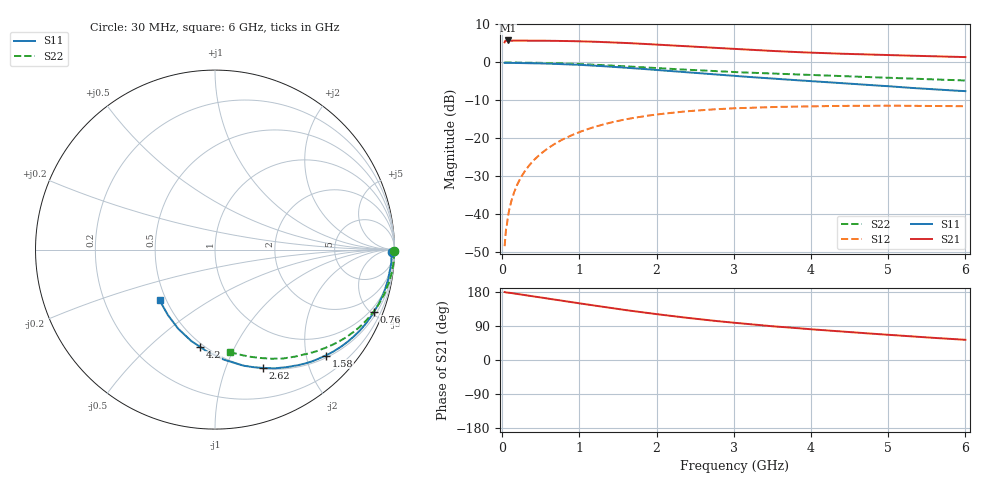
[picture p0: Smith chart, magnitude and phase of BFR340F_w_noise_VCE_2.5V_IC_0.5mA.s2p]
! Infineon Technologies  Discrete & RF Semiconductors
! BFR340F
! VCE =  2.5 V,  IC =  0.5 mA
! Common Emitter S-Parameters:  Nov 2015
# GHz  S  MA  R  50
!  f  S11  S21  S12  S22
! GHz  MAG  ANG  MAG  ANG  MAG  ANG  MAG  ANG
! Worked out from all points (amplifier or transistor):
!   206 points, 30 MHz to 6 GHz, reference 50 ohm
!   highest |S21| = 5.8 dB at 70 MHz (marker M1)
!   |S21| within 3 dB of that: start of sweep to 3.745 GHz
!   unconditionally stable (mu >= 1): nowhere
!   at 200 MHz: K = 0.03, MSG = 18.8 dB, |S12| = -31.9 dB
!   at 1.56 GHz: K = 0.29, MSG = 10.2 dB, |S12| = -15.2 dB
!   at 6 GHz: K = 0.92, MSG = 6.5 dB, |S12| = -11.5 dB
!   lowest NFmin = 0.60 dB at 450 MHz
!   S11 on the Smith chart (normalised r, x): 30 MHz: 63, -69; 760 MHz: 0.71, -5.20; 1.58 GHz: 0.55, -2.39; 2.62 GHz: 0.51, -1.35; 4.2 GHz: 0.48, -0.74; 6 GHz: 0.46, -0.32
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0.03  0.9857 -0.9  1.839 179.3  0.0038 88.8  0.9987 -0.6
0.04  0.983 -1.1  1.933 178.7  0.0051 88.9  0.9985 -0.8
0.05  0.9899 -1.1  1.928 178.1  0.0065 88.1  0.9988 -1.0
0.07  0.9837 -2.1  1.946 177.7  0.0089 88.9  0.999 -1.5
0.11  0.9847 -3.2  1.931 176.9  0.014 87.6  0.9986 -2.4
0.15  0.9847 -4.3  1.936 175.5  0.0191 86.8  0.9978 -3.2
0.2  0.983 -5.7  1.941 174.1  0.0253 85.8  0.997 -4.3
0.28  0.9796 -8.0  1.94 171.7  0.0354 84.2  0.9949 -6.0
0.48  0.9719 -13.5  1.934 165.6  0.0603 80.1  0.9876 -10.2
0.76  0.9512 -21.4  1.919 156.8  0.0939 74.4  0.9708 -16.0
1.04  0.9245 -29.2  1.894 148.3  0.1253 68.7  0.9474 -21.7
1.24  0.9007 -34.6  1.865 142.2  0.1458 64.8  0.9274 -25.7
1.58  0.8542 -43.7  1.807 132.3  0.1763 58.4  0.89 -31.9
2.02  0.7925 -54.4  1.713 120.5  0.2072 51.1  0.8404 -39.3
2.4  0.7405 -63.3  1.634 111.2  0.2275 45.8  0.8006 -45.0
2.62  0.7108 -68.1  1.585 106.3  0.2365 43.1  0.7783 -48.1
3.1  0.6543 -78.0  1.487 96.5  0.2506 37.9  0.7395 -53.9
3.5  0.614 -85.6  1.416 89.0  0.2587 34.5  0.7139 -58.3
4.1  0.5581 -96.6  1.333 79.6  0.2652 30.9  0.6784 -63.5
4.2  0.5491 -98.5  1.321 78.2  0.266 30.4  0.6723 -64.4
5.1  0.4773 -117.0  1.243 65.1  0.269 26.6  0.6222 -72.9
6  0.4187 -137.4  1.175 53.3  0.2648 25.7  0.578 -81.6
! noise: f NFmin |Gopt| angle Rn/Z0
0.45  0.6  0.91  5  1.13
0.9  0.64  0.87  13  1.13
1.9  1.21  0.74  27  0.92
2.4  1.31  0.7  36  0.86
